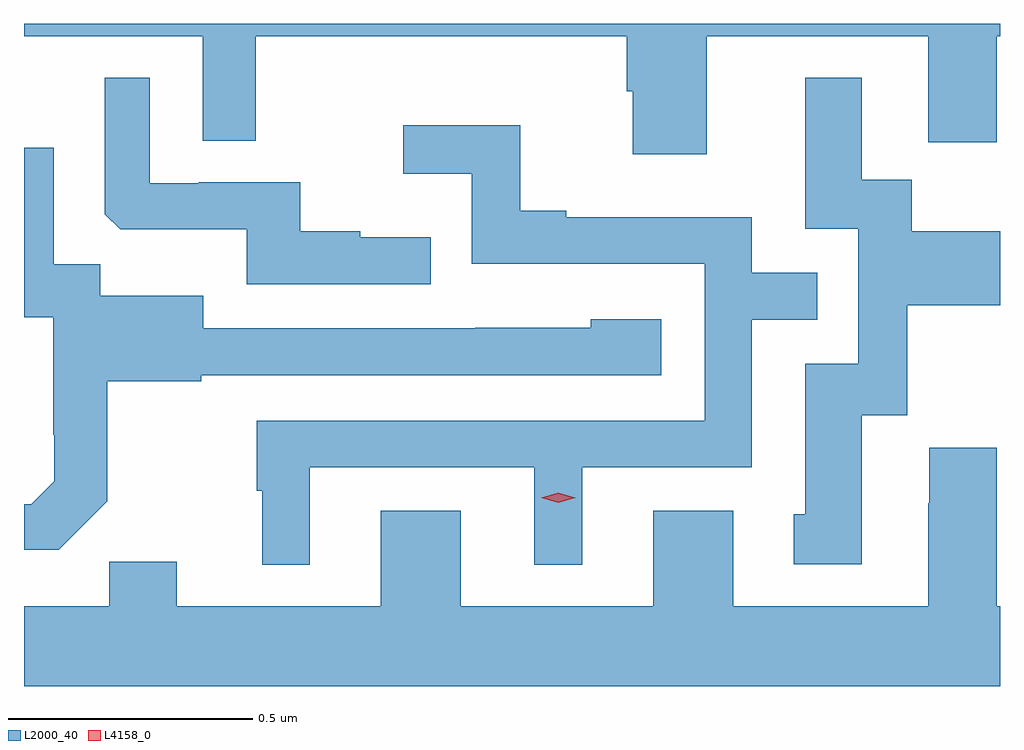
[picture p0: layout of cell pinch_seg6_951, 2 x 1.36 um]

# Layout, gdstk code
import gdstk
lib = gdstk.Library(unit=1e-6, precision=1e-09)
def P(c, l, *ps):  # polygons
    for p in ps: c.add(gdstk.Polygon(p, *l))
L2000_40 = (2000, 40)
L4158_0 = (4158, 0)

pinch_seg6_951 = lib.new_cell('pinch_seg6_951')
P(pinch_seg6_951, L2000_40, [(220.644,931.352),(221.01,931.352),(221.01,931.138),(221.119,931.138),(221.119,931.352),(221.879,931.352),(221.879,931.239),(221.891,931.239),(221.891,931.11),(222.043,931.11),(222.043,931.352),(222.497,931.352),(222.497,931.134),(222.637,931.134),(222.637,931.352),(222.644,931.352),(222.644,931.377),(220.644,931.377)],
  [(222.361,930.575),(222.454,930.575),(222.454,930.8),(222.644,930.8),(222.644,930.952),(222.463,930.952),(222.463,931.058),(222.361,931.058),(222.361,931.267),(222.245,931.267),(222.245,930.957),(222.354,930.957),(222.354,930.681),(222.245,930.681),(222.245,930.372),(222.221,930.372),(222.221,930.27),(222.361,930.27)],
  [(221.477,930.94),(221.333,930.94),(221.333,930.952),(221.21,930.952),(221.21,931.053),(221.002,931.053),(221.002,931.05),(220.902,931.05),(220.902,931.267),(220.809,931.267),(220.809,930.987),(220.841,930.956),(221.1,930.956),(221.1,930.843),(221.477,930.843)],
  [(221.23,930.468),(221.69,930.468),(221.69,930.269),(221.788,930.269),(221.788,930.468),(222.135,930.468),(222.135,930.771),(222.269,930.771),(222.269,930.867),(222.135,930.867),(222.135,930.981),(221.755,930.981),(221.755,930.994),(221.661,930.994),(221.661,931.169),(221.421,931.169),(221.421,931.07),(221.562,931.07),(221.562,930.885),(222.039,930.885),(222.039,930.564),(221.121,930.564),(221.121,930.42),(221.132,930.42),(221.132,930.269),(221.23,930.269)],
  [(220.815,930.399),(220.815,930.645),(221.007,930.645),(221.007,930.657),(221.95,930.657),(221.95,930.772),(221.805,930.772),(221.805,930.754),(221.569,930.754),(221.569,930.753),(221.011,930.753),(221.011,930.82),(220.8,930.82),(220.8,930.884),(220.705,930.884),(220.705,931.123),(220.644,931.123),(220.644,930.776),(220.704,930.776),(220.704,930.535),(220.706,930.535),(220.706,930.44),(220.659,930.393),(220.644,930.393),(220.644,930.299),(220.715,930.299)],
  [(222.644,930.184),(222.637,930.184),(222.637,930.508),(222.499,930.508),(222.499,930.395),(222.497,930.395),(222.497,930.184),(222.097,930.184),(222.097,930.379),(221.933,930.379),(221.933,930.184),(221.539,930.184),(221.539,930.379),(221.375,930.379),(221.375,930.184),(220.957,930.184),(220.957,930.275),(220.819,930.275),(220.819,930.184),(220.644,930.184),(220.644,930.02),(222.644,930.02)])
P(pinch_seg6_951, L4158_0, [(221.739,930.396),(221.704,930.406),(221.703,930.406),(221.704,930.406),(221.739,930.416),(221.774,930.406),(221.775,930.406),(221.774,930.406)])

lib.write_gds('pinch_seg6_951.gds')
